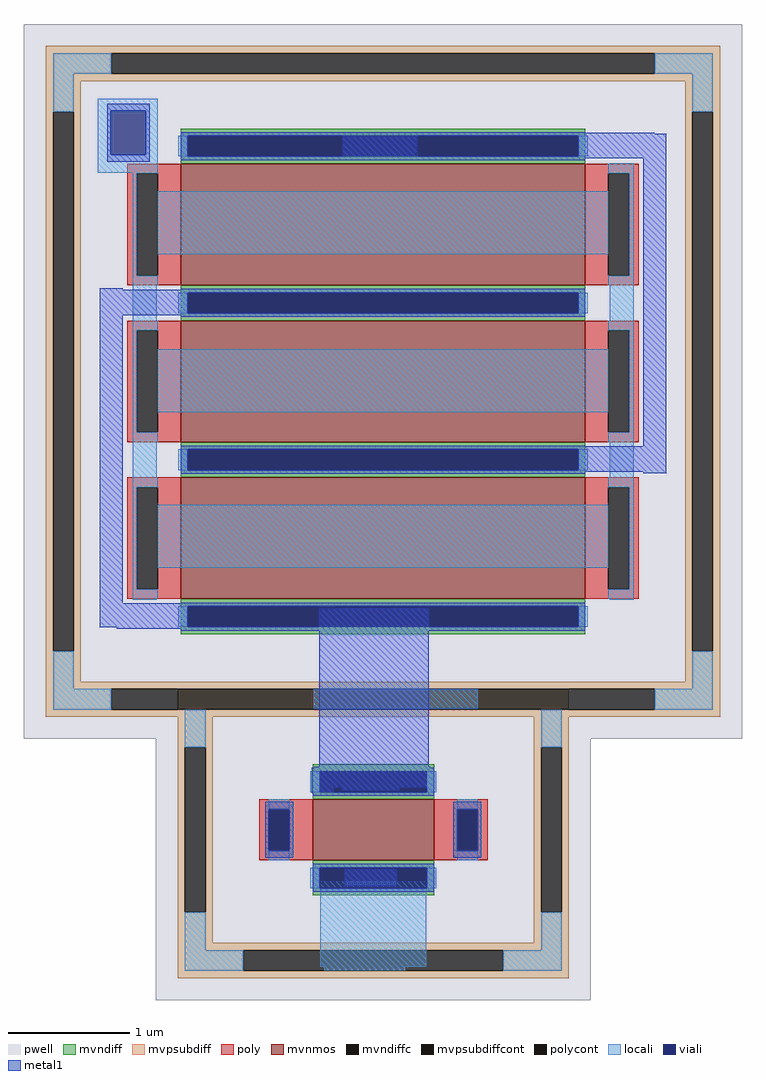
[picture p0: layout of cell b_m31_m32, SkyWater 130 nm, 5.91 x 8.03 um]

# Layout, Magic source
magic
tech sky130A
magscale 1 2
<< metal1 >>
rect 270 386 450 646
rect 262 384 450 386
rect 258 352 450 384
rect 258 342 294 352
use c_m31  c_m31_0
transform -1 0 901 0 1 497
box -65 -65 1117 1111
use c_m32  c_m32_0
transform -1 0 652 0 1 67
box -65 -65 651 495
<< end >>

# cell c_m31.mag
magic
tech sky130A
magscale 1 2
<< locali >>
rect 897 968 995 988
rect 897 896 916 968
rect 974 896 995 968
rect 897 866 995 896
rect 370 -16 640 16
<< viali >>
rect 916 896 974 968
<< metal1 >>
rect 910 968 980 980
rect 470 892 592 926
rect 910 896 916 968
rect 974 896 980 968
rect 910 884 980 896
rect 456 120 604 150
use sky130_fd_pr__nfet_g5v0d10v5_26NRES  sky130_fd_pr__nfet_g5v0d10v5_26NRES_0
transform 0 1 526 -1 0 523
box -588 -591 588 591
<< labels >>
flabel metal1 526 908 526 908 0 FreeSans 800 0 0 0 D
port 0 nsew
flabel viali 944 934 946 934 0 FreeSans 800 0 0 0 G
port 1 nsew
flabel metal1 526 134 526 134 0 FreeSans 800 0 0 0 S
port 2 nsew
flabel locali 524 -2 524 -2 0 FreeSans 800 0 0 0 B
port 3 nsew
<< end >>

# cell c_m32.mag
magic
tech sky130A
magscale 1 2
<< locali >>
rect 206 -10 380 130
rect 240 -16 374 -10
<< metal1 >>
rect 250 280 344 310
rect 254 122 340 150
use sky130_fd_pr__nfet_g5v0d10v5_RJ9VG4  sky130_fd_pr__nfet_g5v0d10v5_RJ9VG4_0
transform 0 1 293 -1 0 215
box -280 -358 280 358
<< labels >>
flabel metal1 296 292 296 292 0 FreeSans 800 0 0 0 D
port 0 nsew
flabel space 428 214 428 214 0 FreeSans 800 0 0 0 G
port 1 nsew
flabel metal1 292 134 292 134 0 FreeSans 800 0 0 0 S
port 2 nsew
flabel locali 298 2 298 2 0 FreeSans 800 0 0 0 B
port 3 nsew
<< end >>

# cell sky130_fd_pr__nfet_g5v0d10v5_RJ9VG4: kit device sky130_fd_pr__nfet_g5v0d10v5, w 1 l 0.5 m 1 nf 1 diffcov 100 polycov 100 guard 1 glc 1 grc 1 gtc 1 gbc 1 tbcov 100 rlcov 100 topc 1 botc 1 poverlap 0 doverlap 1 lmin 0.50 wmin 0.42 class mosfet compatible {sky130_fd_pr__nfet_01v8 sky130_fd_pr__nfet_01v8_lvt sky130_fd_bs_flash__special_sonosfet_star sky130_fd_pr__nfet_g5v0d10v5 sky130_fd_pr__nfet_05v0_nvt sky130_fd_pr__nfet_03v3_nvt} full_metal 1 conn_gates 0 viasrc 100 viadrn 100 viagate 100 viagb 0 viagr 0 viagl 0 viagt 0 doports 1

# cell sky130_fd_pr__nfet_g5v0d10v5_26NRES: kit device sky130_fd_pr__nfet_g5v0d10v5, w 3.33 l 1 m 1 nf 3 diffcov 100 polycov 100 guard 1 glc 1 grc 1 gtc 1 gbc 1 tbcov 100 rlcov 100 topc 1 botc 1 poverlap 0 doverlap 1 lmin 0.50 wmin 0.42 class mosfet compatible {sky130_fd_pr__nfet_01v8 sky130_fd_pr__nfet_01v8_lvt sky130_fd_bs_flash__special_sonosfet_star sky130_fd_pr__nfet_g5v0d10v5 sky130_fd_pr__nfet_05v0_nvt sky130_fd_pr__nfet_03v3_nvt} full_metal 1 conn_gates 0 viasrc 100 viadrn 100 viagate 100 viagb 0 viagr 0 viagl 0 viagt 0 doports 1
